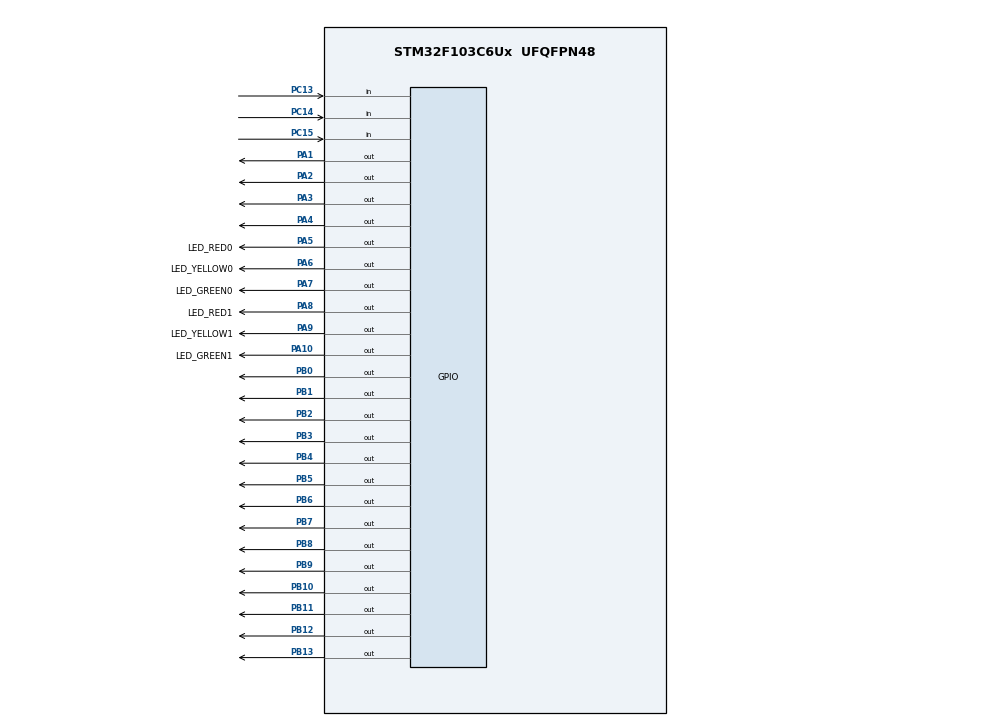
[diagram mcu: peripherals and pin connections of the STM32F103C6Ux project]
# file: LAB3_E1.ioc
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Mcu.Family=STM32F1
Mcu.Name=STM32F103C6Ux
Mcu.Package=UFQFPN48
NVIC.PriorityGroup=NVIC_PRIORITYGROUP_4
NVIC.TIM2_IRQn=true\:0\:0\:false\:false\:true\:true\:true
PA1.Signal=GPIO_Output
PA10.GPIO_Label=LED_GREEN1
PA10.Signal=GPIO_Output
PA2.Signal=GPIO_Output
PA3.Signal=GPIO_Output
PA4.Signal=GPIO_Output
PA5.GPIO_Label=LED_RED0
PA5.Signal=GPIO_Output
PA6.GPIO_Label=LED_YELLOW0
PA6.Signal=GPIO_Output
PA7.GPIO_Label=LED_GREEN0
PA7.Signal=GPIO_Output
PA8.GPIO_Label=LED_RED1
PA8.Signal=GPIO_Output
PA9.GPIO_Label=LED_YELLOW1
PA9.Signal=GPIO_Output
PB0.Signal=GPIO_Output
PB1.Signal=GPIO_Output
PB10.Signal=GPIO_Output
PB11.Signal=GPIO_Output
PB12.Signal=GPIO_Output
PB13.Signal=GPIO_Output
PB2.Signal=GPIO_Output
PB3.Signal=GPIO_Output
PB4.Signal=GPIO_Output
PB5.Signal=GPIO_Output
PB6.Signal=GPIO_Output
PB7.Signal=GPIO_Output
PB8.Signal=GPIO_Output
PB9.Signal=GPIO_Output
PC13-TAMPER-RTC.GPIO_PuPd=GPIO_PULLUP
PC13-TAMPER-RTC.Signal=GPIO_Input
PC14-OSC32_IN.GPIO_PuPd=GPIO_PULLUP
PC14-OSC32_IN.Signal=GPIO_Input
PC15-OSC32_OUT.GPIO_PuPd=GPIO_PULLUP
PC15-OSC32_OUT.Signal=GPIO_Input
ProjectManager.HeapSize=0x200
ProjectManager.StackSize=0x400
ProjectManager.TargetToolchain=STM32CubeIDE
RCC.APB1Freq_Value=8000000
RCC.APB2Freq_Value=8000000
TIM2.Period=9
TIM2.Prescaler=7999
VP_SYS_VS_ND.Mode=No_Debug
VP_TIM2_VS_ClockSourceINT.Mode=Internal
board=custom

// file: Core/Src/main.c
/* USER CODE BEGIN Header */
/**
  ******************************************************************************
  * @file           : main.c
  * @brief          : Main program body
  ******************************************************************************
  * @attention
  *
  * <h2><center>&copy; Copyright (c) 2025 STMicroelectronics.
  * All rights reserved.</center></h2>
  *
  * This software component is licensed by ST under BSD 3-Clause license,
  * the "License"; You may not use this file except in compliance with the
  * License. You may obtain a copy of the License at:
  *                        opensource.org/licenses/BSD-3-Clause
  *
  ******************************************************************************
  */
/* USER CODE END Header */
#include "main.h"

/* USER CODE BEGIN Includes */
#include "fsm_auto.h"
#include "fsm_man.h"
/* USER CODE END Includes */

TIM_HandleTypeDef htim2;

void SystemClock_Config(void);
static void MX_GPIO_Init(void);
static void MX_TIM2_Init(void);

int main(void)
{

  /* MCU Configuration--------------------------------------------------------*/

  /* Reset of all peripherals, Initializes the Flash interface and the Systick. */
  HAL_Init();

  /* Configure the system clock */
  SystemClock_Config();

  /* Initialize all configured peripherals */
  MX_GPIO_Init();
  MX_TIM2_Init();
  /* USER CODE BEGIN 2 */
  HAL_TIM_Base_Start_IT(&htim2);
  /* USER CODE END 2 */

  /* Infinite loop */
  /* USER CODE BEGIN WHILE */
  state=INIT;
  set_timer2(250);
  set_timer3(500);
  while (1)
  {
	 fsm_man_run();
	 fsm_auto_run();
    /* USER CODE END WHILE */

  }
}

void SystemClock_Config(void)
{
  RCC_OscInitTypeDef RCC_OscInitStruct = {0};
  RCC_ClkInitTypeDef RCC_ClkInitStruct = {0};

  /** Initializes the RCC Oscillators according to the specified parameters
  * in the RCC_OscInitTypeDef structure.
  */
  RCC_OscInitStruct.OscillatorType = RCC_OSCILLATORTYPE_HSI;
  RCC_OscInitStruct.HSIState = RCC_HSI_ON;
  RCC_OscInitStruct.HSICalibrationValue = RCC_HSICALIBRATION_DEFAULT;
  RCC_OscInitStruct.PLL.PLLState = RCC_PLL_NONE;
  if (HAL_RCC_OscConfig(&RCC_OscInitStruct) != HAL_OK)
  {
    Error_Handler();
  }
  /** Initializes the CPU, AHB and APB buses clocks
  */
  RCC_ClkInitStruct.ClockType = RCC_CLOCKTYPE_HCLK|RCC_CLOCKTYPE_SYSCLK
                              |RCC_CLOCKTYPE_PCLK1|RCC_CLOCKTYPE_PCLK2;
  RCC_ClkInitStruct.SYSCLKSource = RCC_SYSCLKSOURCE_HSI;
  RCC_ClkInitStruct.AHBCLKDivider = RCC_SYSCLK_DIV1;
  RCC_ClkInitStruct.APB1CLKDivider = RCC_HCLK_DIV1;
  RCC_ClkInitStruct.APB2CLKDivider = RCC_HCLK_DIV1;

  if (HAL_RCC_ClockConfig(&RCC_ClkInitStruct, FLASH_LATENCY_0) != HAL_OK)
  {
    Error_Handler();
  }
}

static void MX_TIM2_Init(void)
{

  TIM_ClockConfigTypeDef sClockSourceConfig = {0};
  TIM_MasterConfigTypeDef sMasterConfig = {0};

  htim2.Instance = TIM2;
  htim2.Init.Prescaler = 7999;
  htim2.Init.CounterMode = TIM_COUNTERMODE_UP;
  htim2.Init.Period = 9;
  htim2.Init.ClockDivision = TIM_CLOCKDIVISION_DIV1;
  htim2.Init.AutoReloadPreload = TIM_AUTORELOAD_PRELOAD_DISABLE;
  if (HAL_TIM_Base_Init(&htim2) != HAL_OK)
  {
    Error_Handler();
  }
  sClockSourceConfig.ClockSource = TIM_CLOCKSOURCE_INTERNAL;
  if (HAL_TIM_ConfigClockSource(&htim2, &sClockSourceConfig) != HAL_OK)
  {
    Error_Handler();
  }
  sMasterConfig.MasterOutputTrigger = TIM_TRGO_RESET;
  sMasterConfig.MasterSlaveMode = TIM_MASTERSLAVEMODE_DISABLE;
  if (HAL_TIMEx_MasterConfigSynchronization(&htim2, &sMasterConfig) != HAL_OK)
  {
    Error_Handler();
  }

}

static void MX_GPIO_Init(void)
{
  GPIO_InitTypeDef GPIO_InitStruct = {0};

  /* GPIO Ports Clock Enable */
  __HAL_RCC_GPIOC_CLK_ENABLE();
  __HAL_RCC_GPIOA_CLK_ENABLE();
  __HAL_RCC_GPIOB_CLK_ENABLE();

  /*Configure GPIO pin Output Level */
  HAL_GPIO_WritePin(GPIOA, GPIO_PIN_1|GPIO_PIN_2|GPIO_PIN_3|GPIO_PIN_4
                          |LED_RED0_Pin|LED_YELLOW0_Pin|LED_GREEN0_Pin|LED_RED1_Pin
                          |LED_YELLOW1_Pin|LED_GREEN1_Pin, GPIO_PIN_RESET);

  /*Configure GPIO pin Output Level */
  HAL_GPIO_WritePin(GPIOB, GPIO_PIN_0|GPIO_PIN_1|GPIO_PIN_2|GPIO_PIN_10
                          |GPIO_PIN_11|GPIO_PIN_12|GPIO_PIN_13|GPIO_PIN_3
                          |GPIO_PIN_4|GPIO_PIN_5|GPIO_PIN_6|GPIO_PIN_7
                          |GPIO_PIN_8|GPIO_PIN_9, GPIO_PIN_RESET);

  /*Configure GPIO pins : PC13 PC14 PC15 */
  GPIO_InitStruct.Pin = GPIO_PIN_13|GPIO_PIN_14|GPIO_PIN_15;
  GPIO_InitStruct.Mode = GPIO_MODE_INPUT;
  GPIO_InitStruct.Pull = GPIO_PULLUP;
  HAL_GPIO_Init(GPIOC, &GPIO_InitStruct);

  /*Configure GPIO pins : PA1 PA2 PA3 PA4
                           LED_RED0_Pin LED_YELLOW0_Pin LED_GREEN0_Pin LED_RED1_Pin
                           LED_YELLOW1_Pin LED_GREEN1_Pin */
  GPIO_InitStruct.Pin = GPIO_PIN_1|GPIO_PIN_2|GPIO_PIN_3|GPIO_PIN_4
                          |LED_RED0_Pin|LED_YELLOW0_Pin|LED_GREEN0_Pin|LED_RED1_Pin
                          |LED_YELLOW1_Pin|LED_GREEN1_Pin;
  GPIO_InitStruct.Mode = GPIO_MODE_OUTPUT_PP;
  GPIO_InitStruct.Pull = GPIO_NOPULL;
  GPIO_InitStruct.Speed = GPIO_SPEED_FREQ_LOW;
  HAL_GPIO_Init(GPIOA, &GPIO_InitStruct);

  /*Configure GPIO pins : PB0 PB1 PB2 PB10
                           PB11 PB12 PB13 PB3
                           PB4 PB5 PB6 PB7
                           PB8 PB9 */
  GPIO_InitStruct.Pin = GPIO_PIN_0|GPIO_PIN_1|GPIO_PIN_2|GPIO_PIN_10
                          |GPIO_PIN_11|GPIO_PIN_12|GPIO_PIN_13|GPIO_PIN_3
                          |GPIO_PIN_4|GPIO_PIN_5|GPIO_PIN_6|GPIO_PIN_7
                          |GPIO_PIN_8|GPIO_PIN_9;
  GPIO_InitStruct.Mode = GPIO_MODE_OUTPUT_PP;
  GPIO_InitStruct.Pull = GPIO_NOPULL;
  GPIO_InitStruct.Speed = GPIO_SPEED_FREQ_LOW;
  HAL_GPIO_Init(GPIOB, &GPIO_InitStruct);

}

/* USER CODE BEGIN 4 */

void HAL_TIM_PeriodElapsedCallback(TIM_HandleTypeDef *htim){
	timer0_run();
	timer1_run();
	timer2_run();
	timer3_run();
	if(timer2_flag==1) {
		sw = 1-sw;
		timer2_flag=0;
		set_timer2(250);
	}
	one_sec_run();

	getKeyInput0();
	getKeyInput1();
	getKeyInput2();

	modeRun();

}
/* USER CODE END 4 */

void Error_Handler(void)
{
  __disable_irq();
  while (1)
  {
  }
}

/************************ (C) COPYRIGHT STMicroelectronics *****END OF FILE****/
